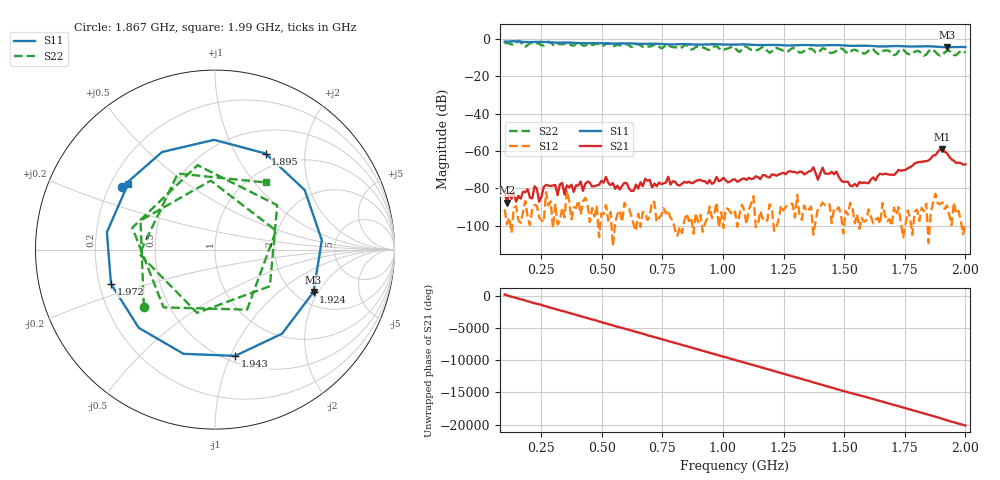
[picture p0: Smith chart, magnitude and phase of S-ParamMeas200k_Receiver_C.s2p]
!Keysight Technologies,N5242B,MY48420967,A.15.65.19
!Date: Saturday, February 04, 2023 11:58:05
!Correction: S11(C  1-Port  )
!S21(Off)
!S12(Off)
!S22(Off)
!S2P File: Measurements: S11, S21, S12, S22:
# Hz S  dB  R 50
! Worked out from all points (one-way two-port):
!   201 points, 100 MHz to 2 GHz, reference 50 ohm
!   highest |S21| = -58.83 dB at 1.905 GHz (marker M1); lowest = -87.6 dB at 109.5 MHz (marker M2)
!   lowest |S11| = -4.5 dB at 1.924 GHz (marker M3), VSWR 3.97, Z = 124 - j91.1 ohm
!   |S11| at or under -10 dB: nowhere
!   |S22| runs from -9.0 to -0.9 dB; largest |S21 - S12| = 0.0012
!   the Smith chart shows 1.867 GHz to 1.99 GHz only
!   S11 on the Smith chart (normalised r, x): 1.867 GHz: 0.25, +0.29; 1.895 GHz: 0.79, +1.34; 1.924 GHz: 2.48, -1.82; 1.943 GHz: 0.56, -1.04; 1.972 GHz: 0.25, -0.15; 1.99 GHz: 0.27, +0.31
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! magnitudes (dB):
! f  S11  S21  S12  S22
! 100 MHz  -1.5  -81.5  -91.2  -2.3
! 109.5 MHz  -1.4  -87.6  -99.1  -2.3
! 385 MHz  -2.1  -81.8  -90.0  -3.7
! 413.5 MHz  -2.3  -76.3  -93.9  -2.6
! 423 MHz  -2.4  -81.3  -87.1  -3.7
! 518 MHz  -2.4  -73.9  -88.9  -2.6
! 556 MHz  -2.5  -80.2  -98.4  -3.7
! 736.5 MHz  -2.7  -76.8  -95.8  -4.2
! 1.05 GHz  -3.1  -75.2  -92.4  -4.7
! 1.373 GHz  -3.4  -68.7  -104.7  -6.0
! 1.392 GHz  -3.6  -75.4  -90.8  -7.5
! 1.411 GHz  -3.5  -68.9  -87.5  -5.1
! 1.534 GHz  -3.8  -78.8  -90.4  -6.0
! 1.687 GHz  -3.9  -72.7  -96.4  -6.5
! 1.867 GHz  -4.1  -62.4  -87.4  -5.9
! 1.895 GHz  -4.4  -59.2  -88.5  -9.0
! 1.905 GHz  -4.4  -58.8  -87.5  -8.4
! 1.924 GHz  -4.5  -61.1  -89.1  -6.4
! 1.943 GHz  -4.4  -64.5  -99.6  -7.4
! 1.972 GHz  -4.3  -66.2  -92.0  -7.5
! 1.99 GHz  -4.3  -67.3  -104.5  -6.6
! 2 GHz  -4.4  -67.1  -98.9  -7.4
